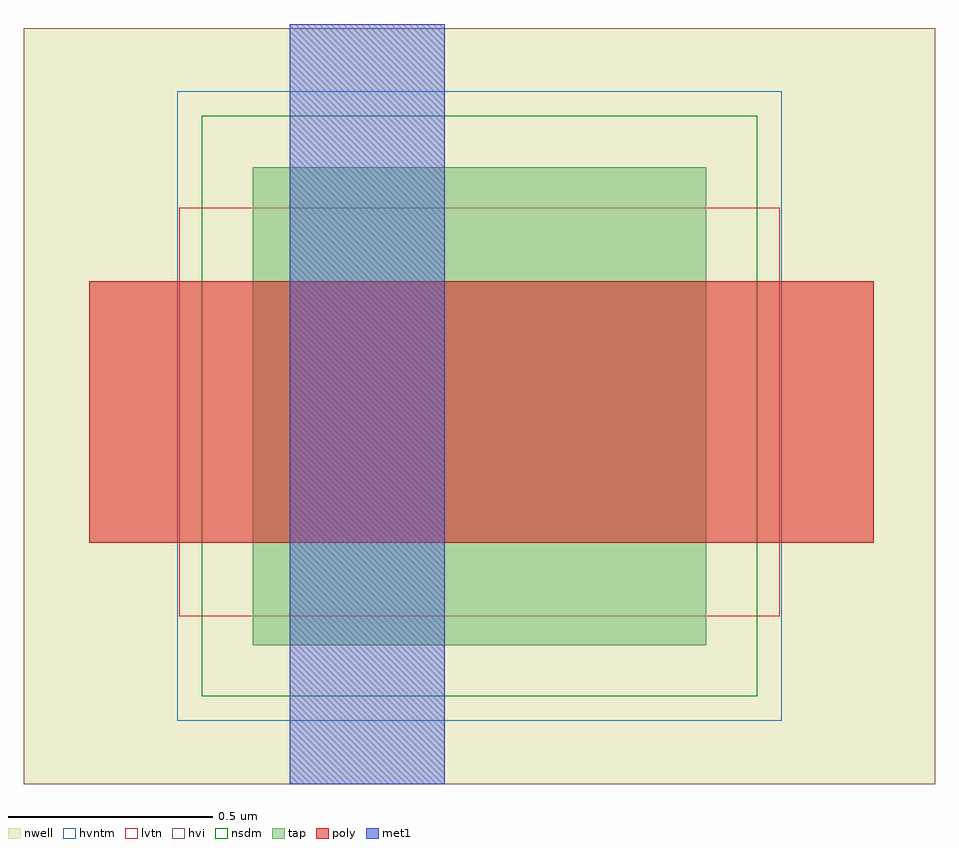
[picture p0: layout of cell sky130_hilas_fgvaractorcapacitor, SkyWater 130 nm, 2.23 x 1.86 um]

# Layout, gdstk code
import gdstk
lib = gdstk.Library(unit=1e-6, precision=1e-09)
def R(c, l, rs):  # rectangles x0, y0, x1, y1
    for r in rs: c.add(gdstk.rectangle(r[:2], r[2:], *l))
nwell = (64, 20)
tap = (65, 44)
poly = (66, 20)
met1 = (68, 20)
hvi = (75, 20)
nsdm = (93, 44)
hvntm = (125, 20)
lvtn = (125, 44)

sky130_hilas_fgvaractorc = lib.new_cell('sky130_hilas_fgvaractorcapacitor')
R(sky130_hilas_fgvaractorc, nwell, [(-9.57,-3.95,-7.34,-2.1)])
R(sky130_hilas_fgvaractorc, tap, [(-9.01,-3.61,-7.9,-2.44)])
R(sky130_hilas_fgvaractorc, poly, [(-9.41,-3.36,-7.49,-2.72)])
R(sky130_hilas_fgvaractorc, met1, [(-8.92,-3.95,-8.54,-2.09)])
R(sky130_hilas_fgvaractorc, hvi, [(-9.57,-3.95,-7.34,-2.1)])
R(sky130_hilas_fgvaractorc, nsdm, [(-9.135,-3.735,-7.775,-2.315)])
R(sky130_hilas_fgvaractorc, hvntm, [(-9.195,-3.795,-7.715,-2.255)])
R(sky130_hilas_fgvaractorc, lvtn, [(-9.19,-3.54,-7.72,-2.54)])

lib.write_gds('sky130_hilas_fgvaractorcapacitor.gds')
